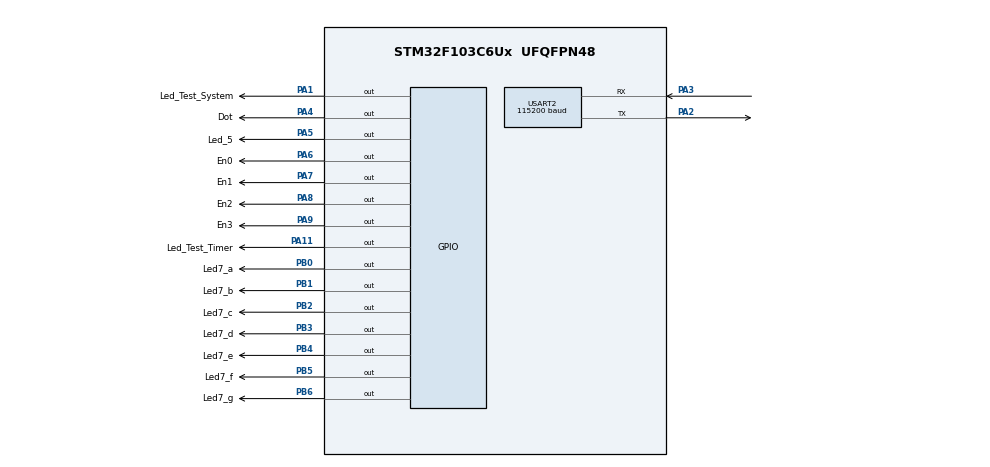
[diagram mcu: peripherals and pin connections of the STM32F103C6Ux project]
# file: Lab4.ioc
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Mcu.Family=STM32F1
Mcu.Name=STM32F103C6Ux
Mcu.Package=UFQFPN48
NVIC.PriorityGroup=NVIC_PRIORITYGROUP_4
NVIC.TIM2_IRQn=true\:0\:0\:false\:false\:true\:true\:true
PA1.GPIO_Label=Led_Test_System
PA1.Signal=GPIO_Output
PA11.GPIO_Label=Led_Test_Timer
PA11.Signal=GPIO_Output
PA2.Mode=Asynchronous
PA2.Signal=USART2_TX
PA3.Mode=Asynchronous
PA3.Signal=USART2_RX
PA4.GPIO_Label=Dot
PA4.Signal=GPIO_Output
PA5.GPIO_Label=Led_5
PA5.Signal=GPIO_Output
PA6.GPIO_Label=En0
PA6.Signal=GPIO_Output
PA7.GPIO_Label=En1
PA7.Signal=GPIO_Output
PA8.GPIO_Label=En2
PA8.Signal=GPIO_Output
PA9.GPIO_Label=En3
PA9.Signal=GPIO_Output
PB0.GPIO_Label=Led7_a
PB0.Signal=GPIO_Output
PB1.GPIO_Label=Led7_b
PB1.Signal=GPIO_Output
PB2.GPIO_Label=Led7_c
PB2.Signal=GPIO_Output
PB3.GPIO_Label=Led7_d
PB3.Signal=GPIO_Output
PB4.GPIO_Label=Led7_e
PB4.Signal=GPIO_Output
PB5.GPIO_Label=Led7_f
PB5.Signal=GPIO_Output
PB6.GPIO_Label=Led7_g
PB6.Signal=GPIO_Output
ProjectManager.HeapSize=0x200
ProjectManager.StackSize=0x400
ProjectManager.TargetToolchain=STM32CubeIDE
RCC.APB1Freq_Value=8000000
RCC.APB2Freq_Value=8000000
TIM2.Period=9
TIM2.Prescaler=7999
USART2.BaudRate=115200
USART2.VirtualMode=VM_ASYNC
VP_SYS_VS_ND.Mode=No_Debug
VP_TIM2_VS_ClockSourceINT.Mode=Internal
board=custom

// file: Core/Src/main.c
/* USER CODE BEGIN Header */
/**
  ******************************************************************************
  * @file           : main.c
  * @brief          : Main program body
  ******************************************************************************
  * @attention
  *
  * <h2><center>&copy; Copyright (c) 2021 STMicroelectronics.
  * All rights reserved.</center></h2>
  *
  * This software component is licensed by ST under BSD 3-Clause license,
  * the "License"; You may not use this file except in compliance with the
  * License. You may obtain a copy of the License at:
  *                        opensource.org/licenses/BSD-3-Clause
  *
  ******************************************************************************
  */
/* USER CODE END Header */
#include "main.h"

TIM_HandleTypeDef htim2;

UART_HandleTypeDef huart2;

void SystemClock_Config(void);
static void MX_GPIO_Init(void);
static void MX_TIM2_Init(void);
static void MX_USART2_UART_Init(void);

/* USER CODE BEGIN 0 */

static void UART_SendText(const char *text)
{
    uint16_t length = 0U;

    while (text[length] != '\0')
    {
        ++length;
    }

    if (length > 0U)
    {
        (void)HAL_UART_Transmit(&huart2, (uint8_t *)text, length, 100U);

    }
}

/* Demo variables can be watched in the CubeIDE debugger. */
volatile uint32_t callback10ms_count = 0U;
volatile uint32_t callback10ms_timestamp_ms = 0U;
volatile uint32_t task500ms_count = 0U;
volatile uint32_t task1000ms_count = 0U;
volatile uint32_t task1500ms_count = 0U;
volatile uint32_t task2000ms_count = 0U;
volatile uint32_t task2500ms_count = 0U;
volatile uint32_t oneShot1_timestamp_ms = 0U;
volatile uint32_t oneShot2_timestamp_ms = 0U;

void callback10ms(void)
{
    callback10ms_count++;
    callback10ms_timestamp_ms = SCH_Get_Time();
}

void Task_500ms(void)
{
    task500ms_count++;
    HAL_GPIO_TogglePin(Led_Test_System_GPIO_Port, Led_Test_System_Pin);
    char buffer[64];

            snprintf(buffer, sizeof(buffer),
                     "Task_500ms at %lu ms\r\n",
                     (unsigned long)SCH_Get_Time());

            UART_SendText(buffer);
}

void Task_1000ms(void)
{
    task1000ms_count++;
    HAL_GPIO_TogglePin(Led_Test_Timer_GPIO_Port, Led_Test_Timer_Pin);
    char buffer[64];

        snprintf(buffer, sizeof(buffer),
                 "Task_10ms done at %lu ms\r\n",
                 (unsigned long)SCH_Get_Time());

        UART_SendText(buffer);
}

void Task_1500ms(void)
{
    task1500ms_count++;
    HAL_GPIO_TogglePin(Led_5_GPIO_Port, Led_5_Pin);
    char buffer[64];

            snprintf(buffer, sizeof(buffer),
                     "Task_1500ms done at %lu ms\r\n",
                     (unsigned long)SCH_Get_Time());

            UART_SendText(buffer);
}

void Task_2000ms(void)
{
    task2000ms_count++;
}

void Task_2500ms(void)
{
    task2500ms_count++;
}

void OneShot_1(void)
{
    oneShot1_timestamp_ms = SCH_Get_Time();
    char buffer[64];

                snprintf(buffer, sizeof(buffer),
                         "Task_OneShot1 done at %lu ms\r\n",
                         (unsigned long)SCH_Get_Time());

                UART_SendText(buffer);
}

void OneShot_2(void)
{
    oneShot2_timestamp_ms = SCH_Get_Time();
}

static const uint8_t SEGMENT_TABLE[10] =
{
    0x3F,  // 0: abcdef
    0x06,  // 1: bc
    0x5B,  // 2: abdeg
    0x4F,  // 3: abcdg
    0x66,  // 4: bcfg
    0x6D,  // 5: acdfg
    0x7D,  // 6: acdefg
    0x07,  // 7: abc
    0x7F,  // 8: abcdefg
    0x6F   // 9: abcdfg
};

static uint8_t display_digits[4] = {0, 0, 0, 0};
static uint8_t current_digit = 0;

void Display_UpdateNumber(uint32_t number)
{
    number %= 10000U;

    display_digits[0] = number / 1000U;
    display_digits[1] = (number / 100U) % 10U;
    display_digits[2] = (number / 10U) % 10U;
    display_digits[3] = number % 10U;
}

void Display_DisableAll(void)
{
    HAL_GPIO_WritePin(GPIOA,
        En0_Pin | En1_Pin | En2_Pin | En3_Pin,
        GPIO_PIN_SET);
}

void Display_SetSegments(uint8_t pattern)
{
    HAL_GPIO_WritePin(GPIOB,
        Led7_a_Pin | Led7_b_Pin | Led7_c_Pin |
        Led7_d_Pin | Led7_e_Pin | Led7_f_Pin |
        Led7_g_Pin,
        GPIO_PIN_RESET);

    HAL_GPIO_WritePin(Led7_a_GPIO_Port, Led7_a_Pin,
        (pattern & 0x01) ? GPIO_PIN_SET : GPIO_PIN_RESET);

    HAL_GPIO_WritePin(Led7_b_GPIO_Port, Led7_b_Pin,
        (pattern & 0x02) ? GPIO_PIN_SET : GPIO_PIN_RESET);

    HAL_GPIO_WritePin(Led7_c_GPIO_Port, Led7_c_Pin,
        (pattern & 0x04) ? GPIO_PIN_SET : GPIO_PIN_RESET);

    HAL_GPIO_WritePin(Led7_d_GPIO_Port, Led7_d_Pin,
        (pattern & 0x08) ? GPIO_PIN_SET : GPIO_PIN_RESET);

    HAL_GPIO_WritePin(Led7_e_GPIO_Port, Led7_e_Pin,
        (pattern & 0x10) ? GPIO_PIN_SET : GPIO_PIN_RESET);

    HAL_GPIO_WritePin(Led7_f_GPIO_Port, Led7_f_Pin,
        (pattern & 0x20) ? GPIO_PIN_SET : GPIO_PIN_RESET);

    HAL_GPIO_WritePin(Led7_g_GPIO_Port, Led7_g_Pin,
        (pattern & 0x40) ? GPIO_PIN_SET : GPIO_PIN_RESET);
}

void Display_Scan(void)
{
    Display_DisableAll();

    Display_SetSegments(SEGMENT_TABLE[display_digits[current_digit]]);

    switch (current_digit)
    {
        case 0:
            HAL_GPIO_WritePin(En0_GPIO_Port, En0_Pin, GPIO_PIN_RESET);
            break;

        case 1:
            HAL_GPIO_WritePin(En1_GPIO_Port, En1_Pin, GPIO_PIN_RESET);
            break;

        case 2:
            HAL_GPIO_WritePin(En2_GPIO_Port, En2_Pin, GPIO_PIN_RESET);
            break;

        case 3:
            HAL_GPIO_WritePin(En3_GPIO_Port, En3_Pin, GPIO_PIN_RESET);
            break;
    }

    current_digit++;

    if (current_digit >= 4)
    {
        current_digit = 0;
    }
}

/* USER CODE END 0 */

int main(void)
{

  /* MCU Configuration--------------------------------------------------------*/

  /* Reset of all peripherals, Initializes the Flash interface and the Systick. */
  HAL_Init();

  /* Configure the system clock */
  SystemClock_Config();

  /* Initialize all configured peripherals */
  MX_GPIO_Init();
  MX_TIM2_Init();
  MX_USART2_UART_Init();
  /* USER CODE BEGIN 2 */
  SCH_Init();

  /* Add scheduler tasks. TIM2 tick is 10 ms (one scheduler tick). */
  (void)SCH_Add_Task(callback10ms, 0U, 1U);       /* Every 10 ms */
  (void)SCH_Add_Task(Task_500ms, 50U, 50U);       /* Every 500 ms */
  (void)SCH_Add_Task(Task_1000ms, 1U, 1U);    /* Every 1 s */
  (void)SCH_Add_Task(Task_1500ms, 150U, 150U);    /* Every 1.5 s */
  (void)SCH_Add_Task(Task_2000ms, 200U, 200U);    /* Every 2 s */
  (void)SCH_Add_Task(Task_2500ms, 250U, 250U);    /* Every 2.5 s */

  /* One-shot callbacks after 1 s and 2.5 s */
  (void)SCH_Add_Task(OneShot_1, 100U, 0U);
  (void)SCH_Add_Task(OneShot_2, 250U, 0U);

  UART_SendText("Lab4 scheduler started\r\n");

  /* Start the 10 ms TIM2 scheduler tick */
  if (HAL_TIM_Base_Start_IT(&htim2) != HAL_OK)
  {
      Error_Handler();
  }

  /* USER CODE END 2 */

  /* Infinite loop */
  /* USER CODE BEGIN WHILE */
  while (1)
  {
    SCH_Dispatch_Tasks();

    /* USER CODE END WHILE */

  }
}

void SystemClock_Config(void)
{
  RCC_OscInitTypeDef RCC_OscInitStruct = {0};
  RCC_ClkInitTypeDef RCC_ClkInitStruct = {0};

  /** Initializes the RCC Oscillators according to the specified parameters
  * in the RCC_OscInitTypeDef structure.
  */
  RCC_OscInitStruct.OscillatorType = RCC_OSCILLATORTYPE_HSI;
  RCC_OscInitStruct.HSIState = RCC_HSI_ON;
  RCC_OscInitStruct.HSICalibrationValue = RCC_HSICALIBRATION_DEFAULT;
  RCC_OscInitStruct.PLL.PLLState = RCC_PLL_NONE;
  if (HAL_RCC_OscConfig(&RCC_OscInitStruct) != HAL_OK)
  {
    Error_Handler();
  }
  /** Initializes the CPU, AHB and APB buses clocks
  */
  RCC_ClkInitStruct.ClockType = RCC_CLOCKTYPE_HCLK|RCC_CLOCKTYPE_SYSCLK
                              |RCC_CLOCKTYPE_PCLK1|RCC_CLOCKTYPE_PCLK2;
  RCC_ClkInitStruct.SYSCLKSource = RCC_SYSCLKSOURCE_HSI;
  RCC_ClkInitStruct.AHBCLKDivider = RCC_SYSCLK_DIV1;
  RCC_ClkInitStruct.APB1CLKDivider = RCC_HCLK_DIV1;
  RCC_ClkInitStruct.APB2CLKDivider = RCC_HCLK_DIV1;

  if (HAL_RCC_ClockConfig(&RCC_ClkInitStruct, FLASH_LATENCY_0) != HAL_OK)
  {
    Error_Handler();
  }
}

static void MX_TIM2_Init(void)
{

  TIM_ClockConfigTypeDef sClockSourceConfig = {0};
  TIM_MasterConfigTypeDef sMasterConfig = {0};

  htim2.Instance = TIM2;
  htim2.Init.Prescaler = 7999;
  htim2.Init.CounterMode = TIM_COUNTERMODE_UP;
  htim2.Init.Period = 9;
  htim2.Init.ClockDivision = TIM_CLOCKDIVISION_DIV1;
  htim2.Init.AutoReloadPreload = TIM_AUTORELOAD_PRELOAD_DISABLE;
  if (HAL_TIM_Base_Init(&htim2) != HAL_OK)
  {
    Error_Handler();
  }
  sClockSourceConfig.ClockSource = TIM_CLOCKSOURCE_INTERNAL;
  if (HAL_TIM_ConfigClockSource(&htim2, &sClockSourceConfig) != HAL_OK)
  {
    Error_Handler();
  }
  sMasterConfig.MasterOutputTrigger = TIM_TRGO_RESET;
  sMasterConfig.MasterSlaveMode = TIM_MASTERSLAVEMODE_DISABLE;
  if (HAL_TIMEx_MasterConfigSynchronization(&htim2, &sMasterConfig) != HAL_OK)
  {
    Error_Handler();
  }

}

static void MX_USART2_UART_Init(void)
{

  huart2.Instance = USART2;
  huart2.Init.BaudRate = 115200;
  huart2.Init.WordLength = UART_WORDLENGTH_8B;
  huart2.Init.StopBits = UART_STOPBITS_1;
  huart2.Init.Parity = UART_PARITY_NONE;
  huart2.Init.Mode = UART_MODE_TX_RX;
  huart2.Init.HwFlowCtl = UART_HWCONTROL_NONE;
  huart2.Init.OverSampling = UART_OVERSAMPLING_16;
  if (HAL_UART_Init(&huart2) != HAL_OK)
  {
    Error_Handler();
  }

}

static void MX_GPIO_Init(void)
{
  GPIO_InitTypeDef GPIO_InitStruct = {0};

  /* GPIO Ports Clock Enable */
  __HAL_RCC_GPIOA_CLK_ENABLE();
  __HAL_RCC_GPIOB_CLK_ENABLE();

  /*Configure GPIO pin Output Level */
  HAL_GPIO_WritePin(GPIOA, Led_Test_System_Pin|Dot_Pin|Led_5_Pin|En0_Pin
                          |En1_Pin|En2_Pin|En3_Pin|Led_Test_Timer_Pin, GPIO_PIN_RESET);

  /*Configure GPIO pin Output Level */
  HAL_GPIO_WritePin(GPIOB, Led7_a_Pin|Led7_b_Pin|Led7_c_Pin|Led7_d_Pin
                          |Led7_e_Pin|Led7_f_Pin|Led7_g_Pin, GPIO_PIN_RESET);

  /*Configure GPIO pins : Led_Test_System_Pin Dot_Pin Led_5_Pin En0_Pin
                           En1_Pin En2_Pin En3_Pin Led_Test_Timer_Pin */
  GPIO_InitStruct.Pin = Led_Test_System_Pin|Dot_Pin|Led_5_Pin|En0_Pin
                          |En1_Pin|En2_Pin|En3_Pin|Led_Test_Timer_Pin;
  GPIO_InitStruct.Mode = GPIO_MODE_OUTPUT_PP;
  GPIO_InitStruct.Pull = GPIO_NOPULL;
  GPIO_InitStruct.Speed = GPIO_SPEED_FREQ_LOW;
  HAL_GPIO_Init(GPIOA, &GPIO_InitStruct);

  /*Configure GPIO pins : Led7_a_Pin Led7_b_Pin Led7_c_Pin Led7_d_Pin
                           Led7_e_Pin Led7_f_Pin Led7_g_Pin */
  GPIO_InitStruct.Pin = Led7_a_Pin|Led7_b_Pin|Led7_c_Pin|Led7_d_Pin
                          |Led7_e_Pin|Led7_f_Pin|Led7_g_Pin;
  GPIO_InitStruct.Mode = GPIO_MODE_OUTPUT_PP;
  GPIO_InitStruct.Pull = GPIO_NOPULL;
  GPIO_InitStruct.Speed = GPIO_SPEED_FREQ_LOW;
  HAL_GPIO_Init(GPIOB, &GPIO_InitStruct);

}

void Error_Handler(void)
{
  __disable_irq();
  while (1)
  {
  }
}

/************************ (C) COPYRIGHT STMicroelectronics *****END OF FILE****/
